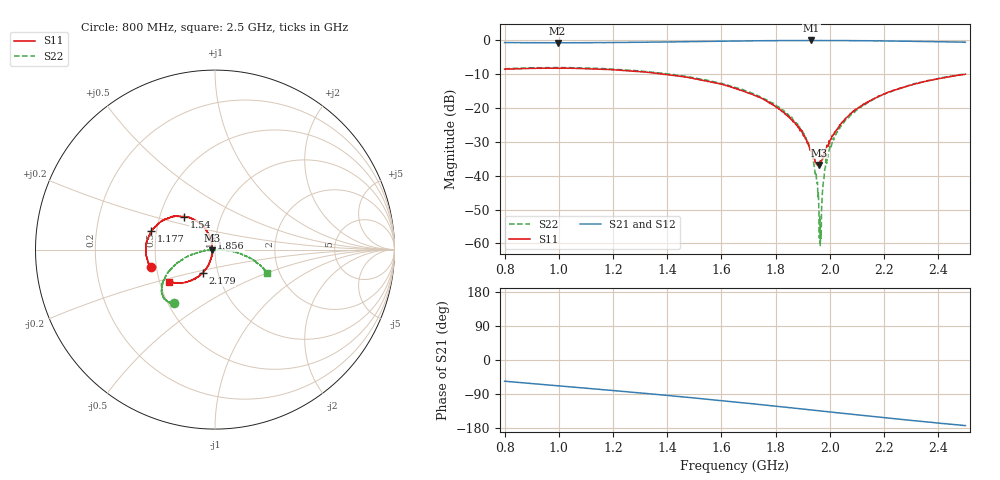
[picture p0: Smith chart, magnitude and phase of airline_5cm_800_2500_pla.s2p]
!Keysight Technologies N9950B: A.12.38
!Date: Friday, 14 April 2023 14:47:12
!Timezone: (UTC-06:00) Central Time (US & Canada)
!Model: N9950B
!Serial: MY61131330
!GPS Latitude:
!GPS Longitude:
!GPS TimeStamp: 0001-01-01 00:00:00Z
!GPS Seconds Since Last Read: 0
!CHECKSUM:1734243936
!Correction: S11(ON U)S21(ON U)S12(ON U)S22(ON U)
!S2P File: Measurements:S11,S21,S12,S22:
# Hz S DB R 50
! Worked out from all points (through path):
!   1001 points, 800 MHz to 2.5 GHz, reference 50 ohm
!   highest |S21| = -0.09 dB at 1.932 GHz (marker M1); lowest = -0.8 dB at 995.5 MHz (marker M2)
!   group delay of S21, straight-line fit = 195 ps
!   lowest |S11| = -36.9 dB at 1.959 GHz (marker M3), VSWR 1.03, Z = 48.6 - j0.319 ohm
!   |S11| at or under -10 dB: 1.377797 GHz to 1.378675 GHz (877.7 kHz wide, 0.0637 % of centre); 1.38 GHz to end of sweep
!   |S22| runs from -60.8 to -8.1 dB; largest |S21 - S12| = 0.0055
!   S11 on the Smith chart (normalised r, x): 800 MHz: 0.46, -0.11; 1.177 GHz: 0.47, +0.11; 1.54 GHz: 0.67, +0.26; 1.856 GHz: 0.95, +0.12; 2.179 GHz: 0.84, -0.23; 2.5 GHz: 0.56, -0.23
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8e8  -8.57 -164.5  -0.71 -56.1  -0.70 -56.0  -8.44 -127.6
9.955e8  -8.31 179.3  -0.80 -68.0  -0.75 -68.0  -8.11 -135.0
1.0839e9  -8.37 171.7  -0.75 -73.3  -0.75 -73.5  -8.24 -138.5
1.1774e9  -8.63 163.8  -0.72 -79.2  -0.70 -79.2  -8.47 -142.2
1.3678e9  -9.86 148.0  -0.56 -91.5  -0.55 -91.4  -9.64 -149.8
1.5395e9  -11.99 132.9  -0.38 -102.9  -0.37 -103.0  -11.75 -157.0
1.65e9  -14.23 123.1  -0.26 -110.8  -0.25 -110.8  -14.00 -162.3
1.8557e9  -23.26 109.6  -0.13 -126.1  -0.11 -126.0  -22.74 -171.6
1.9084e9  -28.82 117.9  -0.12 -130.0  -0.11 -130.0  -28.32 -174.8
1.9322e9  -32.85 140.3  -0.09 -131.9  -0.09 -131.9  -33.08 -173.1
1.9339e9  -33.05 135.5  -0.11 -132.0  -0.09 -131.9  -33.51 -170.3
1.9492e9  -36.32 163.4  -0.12 -133.0  -0.10 -133.2  -38.99 -163.7
1.9594e9  -36.86 -166.8  -0.12 -134.0  -0.11 -134.0  -50.02 -160.5
1.9645e9  -35.61 -159.9  -0.11 -134.3  -0.09 -134.2  -60.80 142.0
1.9696e9  -35.54 -144.8  -0.13 -134.7  -0.10 -134.6  -49.11 -11.9
1.9781e9  -33.91 -130.2  -0.13 -135.4  -0.10 -135.3  -41.03 0.9
1.99e9  -30.96 -121.8  -0.13 -136.1  -0.10 -136.3  -34.16 0.4
2.0206e9  -27.07 -115.9  -0.12 -138.7  -0.13 -138.6  -27.82 -0.3
2.0818e9  -21.30 -113.4  -0.16 -143.1  -0.13 -143.3  -21.75 -4.1
2.1787e9  -16.58 -118.0  -0.24 -150.4  -0.20 -150.5  -16.70 -9.3
2.2178e9  -15.30 -120.9  -0.26 -153.3  -0.26 -153.4  -15.37 -11.5
2.5e9  -10.07 -144.6  -0.60 -173.1  -0.58 -173.2  -9.99 -24.1
